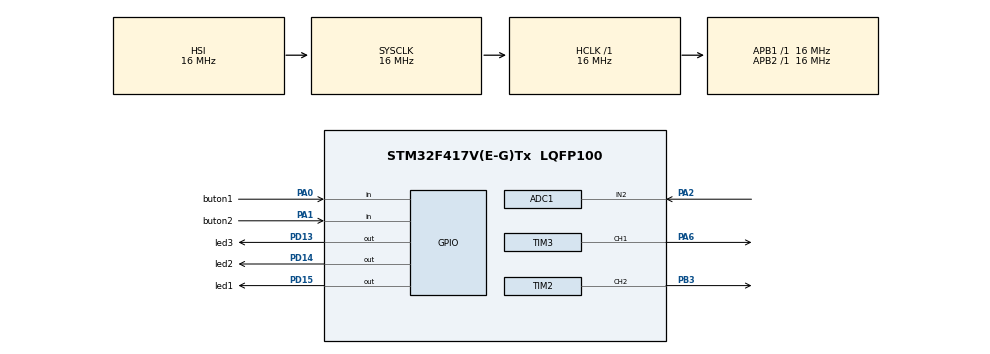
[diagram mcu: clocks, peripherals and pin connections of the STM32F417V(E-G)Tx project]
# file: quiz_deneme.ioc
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ADC1.AutoInjectedConv=DISABLE
ADC1.Channel-0\#ChannelRegularConversion=ADC_CHANNEL_2
ADC1.ClockPrescaler=ADC_CLOCK_SYNC_PCLK_DIV8
ADC1.ContinuousConvMode=ENABLE
ADC1.DMAContinuousRequests=DISABLE
ADC1.DataAlign=ADC_DATAALIGN_RIGHT
ADC1.DiscontinuousConvMode=DISABLE
ADC1.EOCSelection=ADC_EOC_SINGLE_CONV
ADC1.EnableAnalogWatchDog=false
ADC1.ExternalTrigConv=ADC_SOFTWARE_START
ADC1.ExternalTrigConvEdge=ADC_EXTERNALTRIGCONVEDGE_NONE
ADC1.InjNumberOfConversion=0
ADC1.InjectedDiscontinuousConvMode=DISABLE
ADC1.NbrOfConversion=1
ADC1.NbrOfConversionFlag=1
ADC1.Rank-0\#ChannelRegularConversion=1
ADC1.Resolution=ADC_RESOLUTION_10B
ADC1.SamplingTime-0\#ChannelRegularConversion=ADC_SAMPLETIME_3CYCLES
ADC1.ScanConvMode=DISABLE
ADC1.master=1
Mcu.Family=STM32F4
Mcu.Name=STM32F417V(E-G)Tx
Mcu.Package=LQFP100
NVIC.ADC_IRQn=true\:0\:0\:false\:false\:true
NVIC.PriorityGroup=NVIC_PRIORITYGROUP_4
NVIC.TIM3_IRQn=true\:0\:0\:false\:false\:true
PA0-WKUP.GPIO_Label=buton1
PA0-WKUP.Signal=GPIO_Input
PA1.GPIO_Label=buton2
PA1.Signal=GPIO_Input
PA2.Signal=ADCx_IN2
PA6.Signal=S_TIM3_CH1
PB3.Signal=S_TIM2_CH2
PD13.GPIO_Label=led3
PD13.Signal=GPIO_Output
PD14.GPIO_Label=led2
PD14.Signal=GPIO_Output
PD15.GPIO_Label=led1
PD15.Signal=GPIO_Output
ProjectManager.HeapSize=0x200
ProjectManager.StackSize=0x400
ProjectManager.TargetToolchain=MDK-ARM V5
RCC.AHBFreq_Value=16000000
RCC.APB1Freq_Value=16000000
RCC.APB2Freq_Value=16000000
RCC.ClockTypeHCLK=RCC_CLOCKTYPE_HCLK
RCC.ClockTypePCLK1=RCC_CLOCKTYPE_PCLK1
RCC.ClockTypePCLK2=RCC_CLOCKTYPE_PCLK2
RCC.ClockTypeSysClk=RCC_CLOCKTYPE_SYSCLK
RCC.CortexFreq_Value=16000000
RCC.EnableExtClockForI2S=false
RCC.EnableHSE=false
RCC.EnableHSERTCDevisor=false
RCC.EnableLSE=false
RCC.EnableLSERTC=false
RCC.ExtClockEnable=false
RCC.HSEState=RCC_HSE_OFF
RCC.HSE_VALUE=25000000
RCC.HSIState=RCC_HSI_ON
RCC.HSI_VALUE=16000000
RCC.I2SEnable=false
RCC.IWDGEnable=false
RCC.LSE_VALUE=32768
RCC.LSIState=RCC_LSI_OFF
RCC.MCO1OutPutEnable=false
RCC.MCO2OutPutEnable=false
RCC.OscillatorTypeHSI=RCC_OSCILLATORTYPE_HSI
RCC.PLLSource=RCC_PLLSOURCE_HSI
RCC.PLLSourceVirtual=RCC_PLLSOURCE_HSI
RCC.PLLState=RCC_PLL_OFF
RCC.RNGEnable=false
RCC.RTCEnable=false
RCC.SDIOEnable=false
RCC.SYSCLKFreq_VALUE=16000000
RCC.USBFSEnable=false
RCC.USBHSEnable=false
RCC.VCOOutputFreq_Value=192000000
SH.ADCx_IN2.0=ADC1_IN2,IN2
SH.S_TIM2_CH2.0=TIM2_CH2,PWM Generation2 CH2
SH.S_TIM3_CH1.0=TIM3_CH1,PWM Generation1 CH1
TIM2.Channel-PWM\ Generation2\ CH2=TIM_CHANNEL_2
TIM2.Period=9999
TIM2.Prescaler=1599
TIM2.Pulse-PWM\ Generation2\ CH2=1000
TIM3.Channel-PWM\ Generation1\ CH1=TIM_CHANNEL_1
TIM3.Period=999
TIM3.Prescaler=399
board=quiz_deneme

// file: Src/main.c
/**
  ******************************************************************************
  * File Name          : main.c
  * Description        : Main program body
  ******************************************************************************
  *
  * COPYRIGHT(c) 2018 STMicroelectronics
  *
  * Redistribution and use in source and binary forms, with or without modification,
  * are permitted provided that the following conditions are met:
  *   1. Redistributions of source code must retain the above copyright notice,
  *      this list of conditions and the following disclaimer.
  *   2. Redistributions in binary form must reproduce the above copyright notice,
  *      this list of conditions and the following disclaimer in the documentation
  *      and/or other materials provided with the distribution.
  *   3. Neither the name of STMicroelectronics nor the names of its contributors
  *      may be used to endorse or promote products derived from this software
  *      without specific prior written permission.
  *
  * THIS SOFTWARE IS PROVIDED BY THE COPYRIGHT HOLDERS AND CONTRIBUTORS "AS IS"
  * AND ANY EXPRESS OR IMPLIED WARRANTIES, INCLUDING, BUT NOT LIMITED TO, THE
  * IMPLIED WARRANTIES OF MERCHANTABILITY AND FITNESS FOR A PARTICULAR PURPOSE ARE
  * DISCLAIMED. IN NO EVENT SHALL THE COPYRIGHT HOLDER OR CONTRIBUTORS BE LIABLE
  * FOR ANY DIRECT, INDIRECT, INCIDENTAL, SPECIAL, EXEMPLARY, OR CONSEQUENTIAL
  * DAMAGES (INCLUDING, BUT NOT LIMITED TO, PROCUREMENT OF SUBSTITUTE GOODS OR
  * SERVICES; LOSS OF USE, DATA, OR PROFITS; OR BUSINESS INTERRUPTION) HOWEVER
  * CAUSED AND ON ANY THEORY OF LIABILITY, WHETHER IN CONTRACT, STRICT LIABILITY,
  * OR TORT (INCLUDING NEGLIGENCE OR OTHERWISE) ARISING IN ANY WAY OUT OF THE USE
  * OF THIS SOFTWARE, EVEN IF ADVISED OF THE POSSIBILITY OF SUCH DAMAGE.
  *
  ******************************************************************************
  */
#include "main.h"
#include "stm32f4xx_hal.h"
#include "adc.h"
#include "tim.h"
#include "gpio.h"

/* USER CODE BEGIN PV */
/* Private variables ---------------------------------------------------------*/
int adcValue = 0;
int parlaklik = 100;
/* USER CODE END PV */

void SystemClock_Config(void);
void Error_Handler(void);

/* USER CODE BEGIN PFP */
/* Private function prototypes -----------------------------------------------*/

/* USER CODE END PFP */

/* USER CODE BEGIN 0 */
void ADC_IRQHandler(void)
{
  /* USER CODE BEGIN ADC_IRQn 0 */
	adcValue = (HAL_ADC_GetValue(&hadc1)/7)+10;
	//adcValue = HAL_ADC_GetValue(&hadc1);
//	HAL_TIM_Base_Start(&htim2);
	HAL_ADC_Start_IT(&hadc1);
  /* USER CODE END ADC_IRQn 0 */
  HAL_ADC_IRQHandler(&hadc1);
  /* USER CODE BEGIN ADC_IRQn 1 */

  /* USER CODE END ADC_IRQn 1 */
}
/* USER CODE END 0 */

int main(void)
{

  /* MCU Configuration----------------------------------------------------------*/

  /* Reset of all peripherals, Initializes the Flash interface and the Systick. */
  HAL_Init();

  /* Configure the system clock */
  SystemClock_Config();

  /* Initialize all configured peripherals */
  MX_GPIO_Init();
  MX_TIM3_Init();
  MX_ADC1_Init();
  MX_TIM2_Init();

  /* USER CODE BEGIN 2 */
	HAL_ADC_Start_IT(&hadc1);
	HAL_TIM_PWM_Start(&htim2 , TIM_CHANNEL_2);
	HAL_TIM_PWM_Start(&htim3 , TIM_CHANNEL_1);

  /* USER CODE END 2 */

  /* Infinite loop */
  while (1)
  {

  /* USER CODE BEGIN 3 */
		if(HAL_GPIO_ReadPin(buton1_GPIO_Port, buton1_Pin)){
			if(parlaklik <= 800){
//				HAL_Delay(100);
				parlaklik += 100;
				TIM3 -> CCR1 = parlaklik;
				HAL_GPIO_WritePin(led3_GPIO_Port, led3_Pin, GPIO_PIN_SET);
				HAL_Delay(adcValue);
				HAL_GPIO_WritePin(led3_GPIO_Port, led3_Pin, GPIO_PIN_RESET);
			}
		}
		if(HAL_GPIO_ReadPin(buton2_GPIO_Port, buton2_Pin)){
			if(parlaklik >= 200){
//				HAL_Delay(100);
				parlaklik -= 100;
				TIM3 -> CCR1 = parlaklik;
			}
		}
	}
  /* USER CODE END 3 */

}

/** System Clock Configuration
*/
void SystemClock_Config(void)
{

  RCC_OscInitTypeDef RCC_OscInitStruct;
  RCC_ClkInitTypeDef RCC_ClkInitStruct;

    /**Configure the main internal regulator output voltage
    */
  __HAL_RCC_PWR_CLK_ENABLE();

  __HAL_PWR_VOLTAGESCALING_CONFIG(PWR_REGULATOR_VOLTAGE_SCALE1);

    /**Initializes the CPU, AHB and APB busses clocks
    */
  RCC_OscInitStruct.OscillatorType = RCC_OSCILLATORTYPE_HSI;
  RCC_OscInitStruct.HSIState = RCC_HSI_ON;
  RCC_OscInitStruct.HSICalibrationValue = 16;
  RCC_OscInitStruct.PLL.PLLState = RCC_PLL_NONE;
  if (HAL_RCC_OscConfig(&RCC_OscInitStruct) != HAL_OK)
  {
    Error_Handler();
  }

    /**Initializes the CPU, AHB and APB busses clocks
    */
  RCC_ClkInitStruct.ClockType = RCC_CLOCKTYPE_HCLK|RCC_CLOCKTYPE_SYSCLK
                              |RCC_CLOCKTYPE_PCLK1|RCC_CLOCKTYPE_PCLK2;
  RCC_ClkInitStruct.SYSCLKSource = RCC_SYSCLKSOURCE_HSI;
  RCC_ClkInitStruct.AHBCLKDivider = RCC_SYSCLK_DIV1;
  RCC_ClkInitStruct.APB1CLKDivider = RCC_HCLK_DIV1;
  RCC_ClkInitStruct.APB2CLKDivider = RCC_HCLK_DIV1;

  if (HAL_RCC_ClockConfig(&RCC_ClkInitStruct, FLASH_LATENCY_0) != HAL_OK)
  {
    Error_Handler();
  }

    /**Configure the Systick interrupt time
    */
  HAL_SYSTICK_Config(HAL_RCC_GetHCLKFreq()/1000);

    /**Configure the Systick
    */
  HAL_SYSTICK_CLKSourceConfig(SYSTICK_CLKSOURCE_HCLK);

  /* SysTick_IRQn interrupt configuration */
  HAL_NVIC_SetPriority(SysTick_IRQn, 0, 0);
}

void Error_Handler(void)
{
  while(1)
  {
  }
}

/************************ (C) COPYRIGHT STMicroelectronics *****END OF FILE****/
